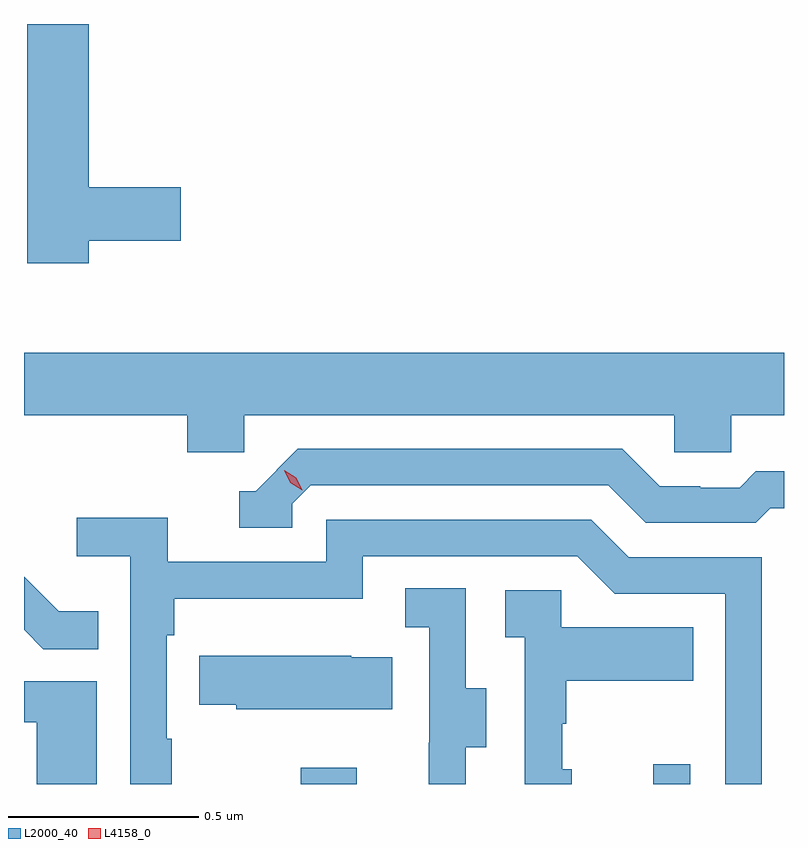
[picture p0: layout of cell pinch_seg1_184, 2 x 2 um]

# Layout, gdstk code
import gdstk
lib = gdstk.Library(unit=1e-6, precision=1e-09)
def R(c, l, rs):  # rectangles x0, y0, x1, y1
    for r in rs: c.add(gdstk.rectangle(r[:2], r[2:], *l))
def P(c, l, *ps):  # polygons
    for p in ps: c.add(gdstk.Polygon(p, *l))
L2000_40 = (2000, 40)
L4158_0 = (4158, 0)

pinch_seg1_184 = lib.new_cell('pinch_seg1_184')
R(pinch_seg1_184, L2000_40, [(1083.352,550.761,1083.499,550.804), (1084.28,550.761,1084.377,550.813)])
P(pinch_seg1_184, L2000_40, [(1082.794,552.19),(1083.037,552.19),(1083.037,552.332),(1082.794,552.332),(1082.794,552.761),(1082.633,552.761),(1082.633,552.132),(1082.794,552.132)],
  [(1083.204,551.732),(1084.335,551.732),(1084.335,551.634),(1084.485,551.634),(1084.485,551.732),(1084.624,551.732),(1084.624,551.896),(1082.624,551.896),(1082.624,551.732),(1083.053,551.732),(1083.053,551.634),(1083.204,551.634)],
  [(1083.33,551.499),(1083.378,551.547),(1084.161,551.547),(1084.26,551.448),(1084.549,551.448),(1084.588,551.487),(1084.624,551.487),(1084.624,551.584),(1084.549,551.584),(1084.507,551.541),(1084.404,551.541),(1084.404,551.544),(1084.297,551.544),(1084.198,551.643),(1083.345,551.643),(1083.234,551.532),(1083.191,551.532),(1083.191,551.436),(1083.33,551.436)],
  [(1083.013,550.88),(1083,550.88),(1083,551.153),(1083.02,551.153),(1083.02,551.249),(1083.516,551.249),(1083.516,551.361),(1084.08,551.361),(1084.179,551.262),(1084.47,551.262),(1084.47,550.761),(1084.566,550.761),(1084.566,551.358),(1084.216,551.358),(1084.117,551.457),(1083.42,551.457),(1083.42,551.346),(1083.002,551.346),(1083.002,551.462),(1082.763,551.462),(1082.763,551.36),(1082.904,551.36),(1082.904,550.761),(1083.013,550.761)],
  [(1082.819,551.215),(1082.715,551.215),(1082.624,551.306),(1082.624,551.167),(1082.675,551.116),(1082.819,551.116)],
  [(1083.787,550.858),(1083.841,550.858),(1083.841,551.013),(1083.786,551.013),(1083.786,551.276),(1083.627,551.276),(1083.627,551.173),(1083.69,551.173),(1083.69,550.869),(1083.689,550.869),(1083.689,550.761),(1083.787,550.761)],
  [(1084.066,550.8),(1084.041,550.8),(1084.041,550.919),(1084.051,550.919),(1084.051,551.033),(1084.385,551.033),(1084.385,551.173),(1084.038,551.173),(1084.038,551.271),(1083.891,551.271),(1083.891,551.147),(1083.942,551.147),(1083.942,550.761),(1084.066,550.761)],
  [(1083.593,551.095),(1083.485,551.095),(1083.485,551.098),(1083.085,551.098),(1083.085,550.969),(1083.183,550.969),(1083.183,550.958),(1083.593,550.958)],
  [(1082.815,551.031),(1082.624,551.031),(1082.624,550.923),(1082.657,550.923),(1082.657,550.761),(1082.815,550.761)])
P(pinch_seg1_184, L4158_0, [(1083.356,551.534),(1083.325,551.554),(1083.309,551.587),(1083.309,551.587),(1083.309,551.587),(1083.34,551.567),(1083.356,551.535),(1083.356,551.534)])

lib.write_gds('pinch_seg1_184.gds')
